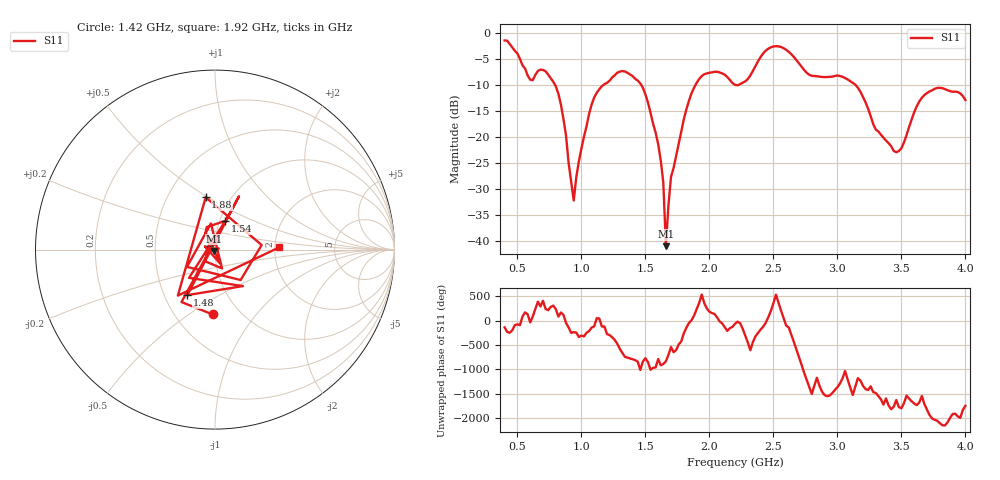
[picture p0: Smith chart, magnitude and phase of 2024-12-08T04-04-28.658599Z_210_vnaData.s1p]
!Created with skrf (http://scikit-rf.org).
# Hz S RI R 50.0
!freq ReS11 ImS11
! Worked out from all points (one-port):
!   181 points, 400 MHz to 4 GHz, reference 50 ohm
!   lowest |S11| = -41.0 dB at 1.66 GHz (marker M1), VSWR 1.02, Z = 49.6 - j0.787 ohm
!   |S11| at or under -10 dB: 793.1 MHz to 1.174 GHz (380.8 MHz wide, 38.7 % of centre); 1.466 GHz to 1.892 GHz (426 MHz wide, 25.4 % of centre); 3.141 GHz to end of sweep (the widest 3 of 4)
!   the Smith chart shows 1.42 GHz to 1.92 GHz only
!   S11 on the Smith chart (normalised r, x): 1.42 GHz: 0.75, -0.62; 1.48 GHz: 0.65, -0.36; 1.54 GHz: 1.06, +0.35; 1.88 GHz: 0.77, +0.49; 1.92 GHz: 2.12, +0.06
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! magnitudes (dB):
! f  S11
! 400 MHz  -1.5
! 600 MHz  -9.0
! 740 MHz  -8.0
! 820 MHz  -11.7
! 860 MHz  -16.6
! 940 MHz  -32.2
! 980 MHz  -24.7
! 1.08 GHz  -13.8
! 1.3 GHz  -7.5
! 1.42 GHz  -8.8
! 1.48 GHz  -10.5
! 1.54 GHz  -15.4
! 1.6 GHz  -21.4
! 1.64 GHz  -28.8
! 1.66 GHz  -41.0
! 1.7 GHz  -27.7
! 1.76 GHz  -21.4
! 1.88 GHz  -10.6
! 1.92 GHz  -8.9
! 2.2 GHz  -10.0
! 2.48 GHz  -2.8
! 2.66 GHz  -4.7
! 2.78 GHz  -8.1
! 3.1 GHz  -9.3
! 3.44 GHz  -22.7
! 3.56 GHz  -18.1
! 3.76 GHz  -10.8
! 4 GHz  -12.9
